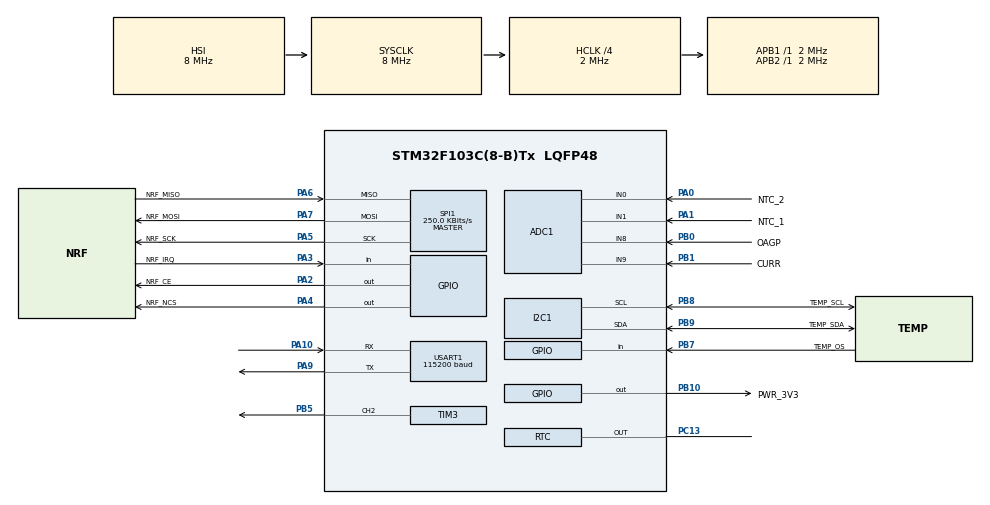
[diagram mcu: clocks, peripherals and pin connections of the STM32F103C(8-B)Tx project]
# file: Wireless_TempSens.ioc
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ADC1.Channel-0\#ChannelRegularConversion=ADC_CHANNEL_0
ADC1.Channel-1\#ChannelRegularConversion=ADC_CHANNEL_1
ADC1.Channel-2\#ChannelRegularConversion=ADC_CHANNEL_8
ADC1.Channel-3\#ChannelRegularConversion=ADC_CHANNEL_9
ADC1.Channel-4\#ChannelRegularConversion=ADC_CHANNEL_TEMPSENSOR
ADC1.Channel-5\#ChannelRegularConversion=ADC_CHANNEL_VREFINT
ADC1.ContinuousConvMode=DISABLE
ADC1.ExternalTrigConv=ADC_EXTERNALTRIGCONV_T3_TRGO
ADC1.NbrOfConversion=6
ADC1.NbrOfConversionFlag=1
ADC1.Rank-0\#ChannelRegularConversion=1
ADC1.Rank-1\#ChannelRegularConversion=2
ADC1.Rank-2\#ChannelRegularConversion=3
ADC1.Rank-3\#ChannelRegularConversion=4
ADC1.Rank-4\#ChannelRegularConversion=5
ADC1.Rank-5\#ChannelRegularConversion=6
ADC1.SamplingTime-0\#ChannelRegularConversion=ADC_SAMPLETIME_239CYCLES_5
ADC1.SamplingTime-1\#ChannelRegularConversion=ADC_SAMPLETIME_239CYCLES_5
ADC1.SamplingTime-2\#ChannelRegularConversion=ADC_SAMPLETIME_239CYCLES_5
ADC1.SamplingTime-3\#ChannelRegularConversion=ADC_SAMPLETIME_239CYCLES_5
ADC1.SamplingTime-4\#ChannelRegularConversion=ADC_SAMPLETIME_239CYCLES_5
ADC1.SamplingTime-5\#ChannelRegularConversion=ADC_SAMPLETIME_239CYCLES_5
ADC1.master=1
Dma.ADC1.0.Direction=DMA_PERIPH_TO_MEMORY
Dma.ADC1.0.Instance=DMA1_Channel1
Dma.ADC1.0.MemDataAlignment=DMA_MDATAALIGN_WORD
Dma.ADC1.0.MemInc=DMA_MINC_ENABLE
Dma.ADC1.0.Mode=DMA_CIRCULAR
Dma.ADC1.0.PeriphDataAlignment=DMA_PDATAALIGN_WORD
Dma.ADC1.0.PeriphInc=DMA_PINC_DISABLE
Dma.ADC1.0.Priority=DMA_PRIORITY_LOW
Dma.Request0=ADC1
Dma.Request1=USART1_RX
Dma.USART1_RX.1.Direction=DMA_PERIPH_TO_MEMORY
Dma.USART1_RX.1.Instance=DMA1_Channel5
Dma.USART1_RX.1.MemDataAlignment=DMA_MDATAALIGN_BYTE
Dma.USART1_RX.1.MemInc=DMA_MINC_ENABLE
Dma.USART1_RX.1.Mode=DMA_CIRCULAR
Dma.USART1_RX.1.PeriphDataAlignment=DMA_PDATAALIGN_BYTE
Dma.USART1_RX.1.PeriphInc=DMA_PINC_DISABLE
Dma.USART1_RX.1.Priority=DMA_PRIORITY_LOW
Mcu.Family=STM32F1
Mcu.Name=STM32F103C(8-B)Tx
Mcu.Package=LQFP48
NVIC.DMA1_Channel1_IRQn=true\:0\:0\:false\:false\:true\:false\:true\:true
NVIC.DMA1_Channel5_IRQn=true\:0\:0\:false\:false\:true\:false\:true\:true
NVIC.PriorityGroup=NVIC_PRIORITYGROUP_4
NVIC.RTC_Alarm_IRQn=true\:0\:0\:false\:false\:true\:true\:true\:true
NVIC.RTC_IRQn=true\:0\:0\:false\:false\:true\:true\:true\:true
PA0-WKUP.GPIO_Label=NTC_2
PA0-WKUP.Signal=ADCx_IN0
PA1.GPIO_Label=NTC_1
PA1.Signal=ADCx_IN1
PA10.Mode=Asynchronous
PA10.Signal=USART1_RX
PA2.GPIO_Label=NRF_CE
PA2.Signal=GPIO_Output
PA3.GPIO_Label=NRF_IRQ
PA3.Signal=GPIO_Input
PA4.GPIO_Label=NRF_NCS
PA4.PinState=GPIO_PIN_SET
PA4.Signal=GPIO_Output
PA5.GPIO_Label=NRF_SCK
PA5.Mode=Full_Duplex_Master
PA5.Signal=SPI1_SCK
PA6.GPIO_Label=NRF_MISO
PA6.Mode=Full_Duplex_Master
PA6.Signal=SPI1_MISO
PA7.GPIO_Label=NRF_MOSI
PA7.Mode=Full_Duplex_Master
PA7.Signal=SPI1_MOSI
PA9.Mode=Asynchronous
PA9.Signal=USART1_TX
PB0.GPIO_Label=OAGP
PB0.Signal=ADCx_IN8
PB1.GPIO_Label=CURR
PB1.Signal=ADCx_IN9
PB10.GPIO_Label=PWR_3V3
PB10.PinState=GPIO_PIN_SET
PB10.Signal=GPIO_Output
PB5.Signal=S_TIM3_CH2
PB6.Signal=S_TIM4_CH1
PB7.GPIO_Label=TEMP_OS
PB7.Signal=GPIO_Input
PB8.GPIO_Label=TEMP_SCL
PB8.Mode=I2C
PB8.Signal=I2C1_SCL
PB9.GPIO_Label=TEMP_SDA
PB9.Mode=I2C
PB9.Signal=I2C1_SDA
PC13-TAMPER-RTC.Mode=RTC OUT
PC13-TAMPER-RTC.Signal=RTC_OUT
PC14-OSC32_IN.Mode=LSE-External-Oscillator
PC14-OSC32_IN.Signal=RCC_OSC32_IN
PC15-OSC32_OUT.Mode=LSE-External-Oscillator
PC15-OSC32_OUT.Signal=RCC_OSC32_OUT
PD0-OSC_IN.Mode=HSE-External-Oscillator
PD0-OSC_IN.Signal=RCC_OSC_IN
PD1-OSC_OUT.Mode=HSE-External-Oscillator
PD1-OSC_OUT.Signal=RCC_OSC_OUT
ProjectManager.HeapSize=0x200
ProjectManager.StackSize=0x400
ProjectManager.TargetToolchain=STM32CubeIDE
RCC.AHBCLKDivider=RCC_SYSCLK_DIV4
RCC.AHBFreq_Value=2000000
RCC.APB1Freq_Value=2000000
RCC.APB1TimFreq_Value=2000000
RCC.APB2Freq_Value=2000000
RCC.APB2TimFreq_Value=2000000
RCC.HCLKFreq_Value=2000000
RCC.RTCClockSelection=RCC_RTCCLKSOURCE_LSE
RCC.SYSCLKFreq_VALUE=8000000
RCC.USBFreq_Value=8000000
RTC.Format=RTC_FORMAT_BIN
RTC.Seconds_A-RTC\ OUT=58
RTC.Year=0
SH.ADCx_IN0.0=ADC1_IN0,IN0
SH.ADCx_IN1.0=ADC1_IN1,IN1
SH.ADCx_IN8.0=ADC1_IN8,IN8
SH.ADCx_IN9.0=ADC1_IN9,IN9
SH.S_TIM3_CH2.0=TIM3_CH2,PWM Generation2 CH2
SH.S_TIM4_CH1.0=TIM4_CH1
SPI1.BaudRatePrescaler=SPI_BAUDRATEPRESCALER_8
SPI1.CalculateBaudRate=250.0 KBits/s
SPI1.Direction=SPI_DIRECTION_2LINES
SPI1.Mode=SPI_MODE_MASTER
SPI1.VirtualType=VM_MASTER
TIM3.Channel-Output\ Compare1\ No\ Output=TIM_CHANNEL_1
TIM3.Channel-PWM\ Generation2\ CH2=TIM_CHANNEL_2
TIM3.Period=999
TIM3.Prescaler=40
TIM3.TIM_MasterOutputTrigger=TIM_TRGO_UPDATE
USART1.BaudRate=115200
USART1.VirtualMode=VM_ASYNC
VP_ADC1_TempSens_Input.Mode=IN-TempSens
VP_ADC1_Vref_Input.Mode=IN-Vrefint
VP_RTC_VS_RTC_Activate.Mode=RTC_Enabled
VP_RTC_VS_RTC_Calendar.Mode=RTC_Calendar
VP_TIM3_VS_no_output1.Mode=Output Compare1 No Output
board=custom

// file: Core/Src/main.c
/* USER CODE BEGIN Header */
/**
  ******************************************************************************
  * @file           : main.c
  * @brief          : Main program body
  ******************************************************************************
  * @attention
  *
  * Copyright (c) 2023 STMicroelectronics.
  * All rights reserved.
  *
  * This software is licensed under terms that can be found in the LICENSE file
  * in the root directory of this software component.
  * If no LICENSE file comes with this software, it is provided AS-IS.
  *
  ******************************************************************************
  */
/* USER CODE END Header */
#include "main.h"
#include "adc.h"
#include "dma.h"
#include "i2c.h"
#include "rtc.h"
#include "spi.h"
#include "tim.h"
#include "usart.h"
#include "gpio.h"

/* USER CODE BEGIN Includes */
#include <string.h>
#include <assert.h>
#include <stdbool.h>

#include "cli.h"
#include "measurement_defines.h"
#include "nrf24l01p_driver.h"
#include "int_measurements.h"
#include "ext_measurements.h"

#include "stm32f1xx_hal_flash.h"
#include "stm32f1xx_hal_flash_ex.h"
/* USER CODE END Includes */

/* USER CODE BEGIN PTD */
typedef Measurement_t Payload_t;

typedef struct NVMdata
{
	char tx_adr[6];
	char rx_adr[6];
	uint8_t stop_period;
	const uint8_t padding[3];
}NVMdata_t;

/* USER CODE END PTD */

/* USER CODE BEGIN PD */
#define PARAMETRIZATION_TIMEOUT	(uint32_t)(10*1000)
#define TMPE_ATTEMPT_TIMEOUT_MS (uint32_t)(100)
#define STOP_PERIOD_MAX			(uint8_t)(255)
#define COMMAND_LNG				(uint32_t)(16)
#define TX_ADR_OFFSET 			(uint32_t)(0)
#define RX_ADR_OFFSET 			(uint32_t)(6)
#define ADR_LNG					(uint32_t)(5)
#define DLMT_1_IDX				(uint32_t)(5)
#define DLMT_2_IDX				(uint32_t)(11)
#define UNITS_IDX 				(uint32_t)(14)
#define TENS_IDX 				(uint32_t)(13)
#define HUNDREDS_IDX 			(uint32_t)(12)
#define DELIMITER				(char)(' ')
/* USER CODE END PD */

void SystemClock_Config(void);
/* USER CODE BEGIN PFP */
void Board_3V3PWR_Up();
void Board_3V3PWR_Down();
void Board_SetNextAlarm(uint8_t seconds);
void NVM_Write(uint32_t*data, uint32_t length);
void NVM_Read(uint32_t*data, uint32_t length);
int NVM_Parametrization(NVMdata_t* data);
void RTC_DisableDefaultAlarm();
void I2C_ReInitialize();
/* USER CODE END PFP */

int main(void)
{
  /* USER CODE BEGIN 1 */
	/* Maximal length of the payload for the NRF24L01+ is PAYLOAD_MAX*/
	static_assert(sizeof(Payload_t) <= PAYLOAD_MAX);
	/* Padding 4 for better uint32_t 'pointing'*/
	static_assert(sizeof(NVMdata_t) % 4 == 0);
	Payload_t payload = {0};
	NVMdata_t data = {0};
  /* USER CODE END 1 */

  /* MCU Configuration--------------------------------------------------------*/

  /* Reset of all peripherals, Initializes the Flash interface and the Systick. */
  HAL_Init();

  /* Configure the system clock */
  SystemClock_Config();

  /* Initialize all configured peripherals */
  MX_GPIO_Init();
  MX_DMA_Init();
  MX_SPI1_Init();
  MX_ADC1_Init();
  MX_USART1_UART_Init();
  MX_TIM3_Init();
  MX_I2C1_Init();
  MX_RTC_Init();
  /* USER CODE BEGIN 2 */

  /* Disable the default Alarm coming from the MX_RTC_Init()*/
  RTC_DisableDefaultAlarm();
  /* Get NVM data */
  NVM_Read((uint32_t*)&data, sizeof(NVMdata_t)/4);

  UART_PRINT("LISTENING FOR PARAMETRIZATION %ld ms\n", PARAMETRIZATION_TIMEOUT);
  UART_PRINT("FORMAT: %s %s %03d\n", data.tx_adr, data.rx_adr, data.stop_period);

  /* Listen for 10 seconds and try to parse the command. This Timeout also
   * prevents from MCU going into STOP MODE immediately after initialization*/
  if (!NVM_Parametrization(&data))
  {
	  UART_PRINT("NO CHANGES APPLIED\n");
  }

  UART_PRINT("NORMAL MODE STARTED\n");
  /* USER CODE END 2 */

  /* Infinite loop */
  while (1)
  {

    /* USER CODE BEGIN 3 */
	  /* I2C Malfunctioned after loosing 3V3 rail voltages */
	  I2C_ReInitialize();
	  /* Return from the STOP mode needs re-start the all clocks*/
	  SystemClock_Config();
	  /* Power up all external peripherals (NTCs, LM75AD, NRF24L01+, OAs)*/
	  Board_3V3PWR_Up();

	  /* Resume the tick necessary for HAL polling functions
	   * tick comes from the ARM-core */
	  HAL_ResumeTick();

	  /* Start measurements (Automatic DMA, TIM3 triggered) */
	  IntMeas_Open();

	  /* Power up NRF24L01+ chip */

	  /* Wait some time to:
	   * 1) 103ms boot up time for the NRF24L01+
	   * 2) 1/50Hz*48 = 960ms ... see IntMeas implementation */
	  HAL_Delay(960);
	  /* Configure NRF as a transmitter */
	  NRF_configure(true);
	  NRF_setTX_ADDR((uint8_t*)data.tx_adr, ADR_LNG);
	  NRF_setRX_ADDR_P0((uint8_t*)data.rx_adr, ADR_LNG);

	  /* Get the external measurements results */
	  /* Set the tmpe as an error value and try to read the .tmpe
	   * maximally for the TMPE_ATTEMPT_TIMEOUT, if any valid readout
	   * is reached, the tmpe will be simply tmpe */
	  payload.tmpe = INT32_MIN;
	  uint32_t tick  = HAL_GetTick();
	  while((payload.tmpe == INT32_MIN) &&
			  (tick + TMPE_ATTEMPT_TIMEOUT_MS > HAL_GetTick()))
	  {
		  ExtMeas_LM75AD_GetTemp(&payload);
	  }

	  /* Get the internal measurements */
	  IntMeas_Get(&payload);

	  /* Prepare NRF24L01+ payload*/
	  NRF_setW_TX_PAYLOAD((uint8_t*)&payload, sizeof(Payload_t));

	  /* Send payload and check*/
	  NRF_CEactivate();
	  HAL_Delay(100);
	  NRF_CEdeactivate();
	  UART_PRINT("NRF STATUS: 0x%02x\r\n", NRF_getSTATUS());

	  /* Disable internal measurement */
	  IntMeas_Close();
	  /* Disable all external peripherals*/
	  Board_3V3PWR_Down();
	  /* Enable wake-up timer*/
	  Board_SetNextAlarm(data.stop_period);
	  /* Disable tick to prevent wakeup - tick comes from the ARM-core*/
	  HAL_SuspendTick();
	  /* Enter low-power mode*/
	  HAL_PWR_EnterSTOPMode(PWR_LOWPOWERREGULATOR_ON, PWR_SLEEPENTRY_WFI);
  }
  /* USER CODE END 3 */
}

void SystemClock_Config(void)
{
  RCC_OscInitTypeDef RCC_OscInitStruct = {0};
  RCC_ClkInitTypeDef RCC_ClkInitStruct = {0};
  RCC_PeriphCLKInitTypeDef PeriphClkInit = {0};

  /** Initializes the RCC Oscillators according to the specified parameters
  * in the RCC_OscInitTypeDef structure.
  */
  RCC_OscInitStruct.OscillatorType = RCC_OSCILLATORTYPE_HSI|RCC_OSCILLATORTYPE_LSE;
  RCC_OscInitStruct.LSEState = RCC_LSE_ON;
  RCC_OscInitStruct.HSIState = RCC_HSI_ON;
  RCC_OscInitStruct.HSICalibrationValue = RCC_HSICALIBRATION_DEFAULT;
  RCC_OscInitStruct.PLL.PLLState = RCC_PLL_NONE;
  if (HAL_RCC_OscConfig(&RCC_OscInitStruct) != HAL_OK)
  {
    Error_Handler();
  }

  /** Initializes the CPU, AHB and APB buses clocks
  */
  RCC_ClkInitStruct.ClockType = RCC_CLOCKTYPE_HCLK|RCC_CLOCKTYPE_SYSCLK
                              |RCC_CLOCKTYPE_PCLK1|RCC_CLOCKTYPE_PCLK2;
  RCC_ClkInitStruct.SYSCLKSource = RCC_SYSCLKSOURCE_HSI;
  RCC_ClkInitStruct.AHBCLKDivider = RCC_SYSCLK_DIV4;
  RCC_ClkInitStruct.APB1CLKDivider = RCC_HCLK_DIV1;
  RCC_ClkInitStruct.APB2CLKDivider = RCC_HCLK_DIV1;

  if (HAL_RCC_ClockConfig(&RCC_ClkInitStruct, FLASH_LATENCY_0) != HAL_OK)
  {
    Error_Handler();
  }
  PeriphClkInit.PeriphClockSelection = RCC_PERIPHCLK_RTC|RCC_PERIPHCLK_ADC;
  PeriphClkInit.RTCClockSelection = RCC_RTCCLKSOURCE_LSE;
  PeriphClkInit.AdcClockSelection = RCC_ADCPCLK2_DIV2;
  if (HAL_RCCEx_PeriphCLKConfig(&PeriphClkInit) != HAL_OK)
  {
    Error_Handler();
  }
}

/* USER CODE BEGIN 4 */
/* Power up the 3V3 dependent external parts*/
void Board_3V3PWR_Up()
{
	HAL_GPIO_WritePin(PWR_3V3_GPIO_Port, PWR_3V3_Pin, GPIO_PIN_RESET);
}
/* Power down the 3V3 dependent external parts*/
void Board_3V3PWR_Down()
{
	HAL_GPIO_WritePin(PWR_3V3_GPIO_Port, PWR_3V3_Pin, GPIO_PIN_SET);
}

/* The empty RTC Callback, used to hit a breakpoint when the RTC interrupt fires */
void HAL_RTC_AlarmAEventCallback(RTC_HandleTypeDef *hrtc)
{
	(void)(hrtc);
}

/* Set a new alarm, algorithm just checks the RTC's time
 * and using an appropriate seconds/minutes/hours math
 * specifies the next time-point to wakeup based on the argument */
void Board_SetNextAlarm(uint8_t seconds)
{
	  RTC_DateTypeDef date = {0};
	  RTC_TimeTypeDef time = {0};
	  RTC_AlarmTypeDef alarm = {0};

	  HAL_RTC_GetTime(&hrtc, &time, RTC_FORMAT_BIN);
	  HAL_RTC_GetDate(&hrtc, &date, RTC_FORMAT_BIN);

	  time.Seconds += seconds;
	  if(time.Seconds>=60)
	  {
	  time.Minutes++;
	  time.Seconds= time.Seconds -60;
	  }
	  if(time.Minutes >= 60)
	  {
	  time.Hours++;
	  time.Minutes = time.Minutes - 60;
	  }
	  if(time.Hours > 23)
	  {
	  time.Hours = 0;
	  }
	  alarm.Alarm = RTC_ALARM_A;
	  alarm.AlarmTime.Hours = time.Hours;
	  alarm.AlarmTime.Minutes = time.Minutes;
	  alarm.AlarmTime.Seconds = time.Seconds;

	  HAL_RTC_SetAlarm_IT(&hrtc, &alarm, RTC_FORMAT_BIN);
}

int NVM_Parametrization(NVMdata_t* data)
{
	uint8_t raw_data[COMMAND_LNG] = {0};

	if(HAL_OK == HAL_UART_Receive(&huart1, raw_data, COMMAND_LNG, PARAMETRIZATION_TIMEOUT) &&
		  (raw_data[DLMT_1_IDX] == DELIMITER &&
				  raw_data[DLMT_2_IDX] == DELIMITER  &&
				  isdigit(raw_data[UNITS_IDX]) &&
				  isdigit(raw_data[TENS_IDX]) &&
				  isdigit(raw_data[HUNDREDS_IDX])))
		  {
		      /* Copy the address */
			  memcpy(data->tx_adr, raw_data + TX_ADR_OFFSET, ADR_LNG);
			  memcpy(data->rx_adr, raw_data + RX_ADR_OFFSET, ADR_LNG);
			  /* Terminate strings */
			  data->tx_adr[ADR_LNG] = '\0';
			  data->rx_adr[ADR_LNG] = '\0';

			  /* Covert string to a numbers*/
			  uint32_t raw = (raw_data[HUNDREDS_IDX] - '0')*100 +
					  (raw_data[TENS_IDX] - '0')*10 +
					  (raw_data[UNITS_IDX] - '0');

			  /* Evaluate maximal period length */
			  data->stop_period = (raw <= STOP_PERIOD_MAX) ? raw : data->stop_period;

			  /* Notify about extracted parameters */
			  UART_PRINT("TX_ADR %s\n", data->tx_adr);
			  UART_PRINT("RX_ADR %s\n", data->rx_adr);
			  UART_PRINT("STOP_PERIOD %d\n", data->stop_period);

			  /* Save to the dedicated place */
			  NVM_Write((uint32_t*)data, sizeof(NVMdata_t)/4);

			  return 1;
		  }
	else
	{
		return 0;
	}
}

void NVM_Write(uint32_t*data, uint32_t length)
{
	/* RM0008 Reference manual (STM32F103C8T6 datasheet), page 55*/
	/* [Flash-Page 127 0x0801FC00 - 0x0801FFFF] 1KB/page */
	const uint32_t PAGE_127_ADR = 0x800FC00;
	const uint32_t MAX_LENGTH = 1024;
	uint32_t adr = PAGE_127_ADR;

	FLASH_EraseInitTypeDef erase = {0};
	uint32_t error = 0;

	assert(data != NULL && length <= MAX_LENGTH);

	assert(HAL_OK == HAL_FLASH_Unlock());
	assert(HAL_OK == HAL_FLASH_OB_Unlock());

	erase.NbPages = 1;
	erase.TypeErase = FLASH_TYPEERASE_PAGES;
	erase.PageAddress = PAGE_127_ADR;

	assert(HAL_OK == HAL_FLASHEx_Erase(&erase, &error));

	for(uint32_t idx = 0; idx < length; idx++)
	{
		HAL_FLASH_Program(FLASH_TYPEPROGRAM_WORD, adr, (uint32_t)*data);
		(uint32_t*)data++;
		adr += 4;
	}

	assert(HAL_OK == HAL_FLASH_Lock());
	assert(HAL_OK == HAL_FLASH_OB_Lock());
}

void NVM_Read(uint32_t*data, uint32_t length)
{
	/* RM0008 Reference manual (STM32F103C8T6 datasheet), page 55*/
	/* [Flash-Page 127 0x0801FC00 - 0x0801FFFF] 1KB/page */
	const uint32_t PAGE_127_ADR = 0x800FC00;
	const uint32_t MAX_LENGTH = 1024;

	assert(data != NULL && length <= MAX_LENGTH);

	memcpy(data, (uint32_t*)PAGE_127_ADR, length*4);
}

void RTC_DisableDefaultAlarm()
{
	assert(HAL_OK == HAL_RTC_DeactivateAlarm(&hrtc, 0));
}

void I2C_ReInitialize()
{
	  HAL_I2C_MspDeInit(&hi2c1);
	  assert(HAL_OK == HAL_I2C_DeInit(&hi2c1));
	  MX_I2C1_Init();
}
/* USER CODE END 4 */

void Error_Handler(void)
{
  __disable_irq();
  while (1)
  {
  }
}
